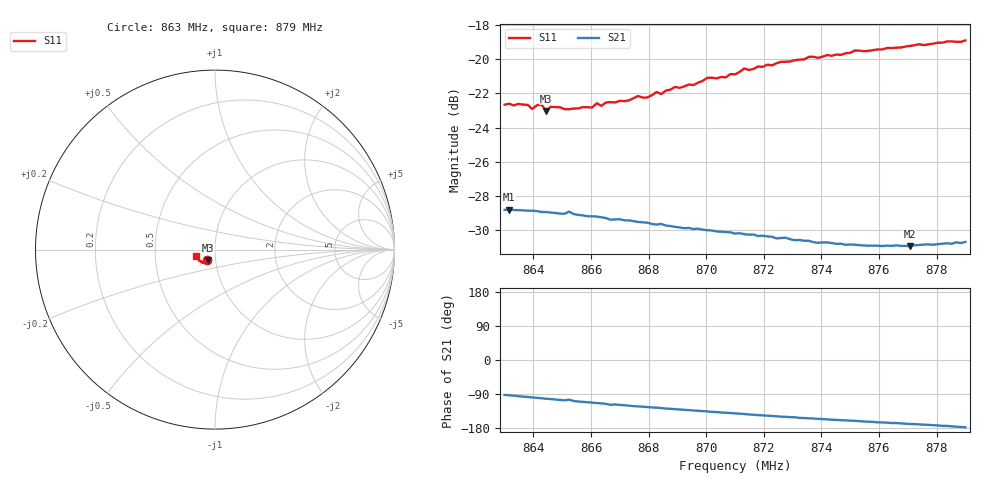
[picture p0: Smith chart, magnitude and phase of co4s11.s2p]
# HZ S RI R 50
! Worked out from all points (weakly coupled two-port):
!   101 points, 863 MHz to 879 MHz, reference 50 ohm
!   highest |S21| = -28.82 dB at 863.16 MHz (marker M1); lowest = -30.9 dB at 877.08 MHz (marker M2)
!   lowest |S11| = -23.0 dB at 864.44 MHz (marker M3), VSWR 1.15, Z = 45.9 - j5.41 ohm
!   |S11| at or under -10 dB: start of sweep to end of sweep
!   S12 and S22 are empty: the file has one direction only
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8.63e8  -0.0444 -0.0587  -0.00137 -0.0362  0 0  0 0
8.6316e8  -0.0433 -0.0601  -0.00202 -0.0362  0 0  0 0
8.638e8  -0.0422 -0.0602  -0.00479 -0.0357  0 0  0 0
8.6396e8  -0.0409 -0.0587  -0.00554 -0.0356  0 0  0 0
8.6428e8  -0.0403 -0.0617  -0.00676 -0.0351  0 0  0 0
8.6444e8  -0.0392 -0.0586  -0.00755 -0.0349  0 0  0 0
8.646e8  -0.0405 -0.0602  -0.00803 -0.0346  0 0  0 0
8.6524e8  -0.0367 -0.0612  -0.00902 -0.0346  0 0  0 0
8.6572e8  -0.038 -0.0616  -0.0122 -0.0327  0 0  0 0
8.6732e8  -0.0401 -0.0643  -0.0172 -0.029  0 0  0 0
8.6764e8  -0.0397 -0.0672  -0.0179 -0.0281  0 0  0 0
8.6796e8  -0.0398 -0.0662  -0.0187 -0.0275  0 0  0 0
8.6828e8  -0.0405 -0.0692  -0.0191 -0.0267  0 0  0 0
8.6844e8  -0.0404 -0.068  -0.0198 -0.0263  0 0  0 0
8.6956e8  -0.0462 -0.0702  -0.0218 -0.0232  0 0  0 0
8.7004e8  -0.0489 -0.0734  -0.0226 -0.022  0 0  0 0
8.71e8  -0.053 -0.073  -0.0239 -0.0195  0 0  0 0
8.7132e8  -0.0572 -0.0745  -0.0244 -0.0187  0 0  0 0
8.7372e8  -0.0732 -0.0706  -0.0263 -0.0126  0 0  0 0
8.7644e8  -0.0924 -0.0554  -0.0276 -0.00668  0 0  0 0
8.7708e8  -0.0964 -0.0516  -0.0278 -0.00537  0 0  0 0
8.79e8  -0.1076 -0.0362  -0.0291 -0.00122  0 0  0 0
